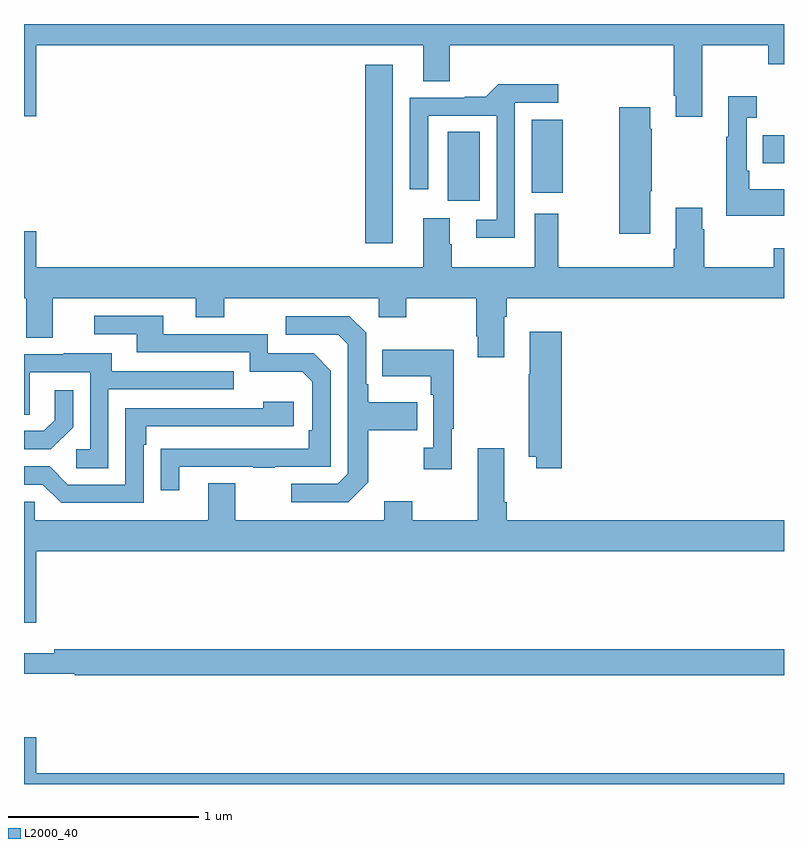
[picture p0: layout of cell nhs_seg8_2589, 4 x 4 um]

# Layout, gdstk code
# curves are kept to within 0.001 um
import gdstk
lib = gdstk.Library(unit=1e-6, precision=1e-09)
def R(c, l, rs):  # rectangles x0, y0, x1, y1
    for r in rs: c.add(gdstk.rectangle(r[:2], r[2:], *l))
def P(c, l, *ps):  # polygons
    for p in ps: c.add(gdstk.Polygon(p, *l))
L2000_40 = (2000, 40)

nhs_seg8_2589 = lib.new_cell('nhs_seg8_2589')
R(nhs_seg8_2589, L2000_40, [(274.796,1160.745,274.942,1161.685), (275.231,1160.97,275.398,1161.332), (275.672,1161.011,275.836,1161.397), (276.889,1161.167,277,1161.315)])
P(nhs_seg8_2589, L2000_40, [(276.571,1161.788),(276.916,1161.788),(276.916,1161.689),(277,1161.689),(277,1161.9),(273,1161.9),(273,1161.414),(273.064,1161.414),(273.064,1161.788),(275.102,1161.788),(275.102,1161.598),(275.242,1161.598),(275.242,1161.788),(276.419,1161.788),(276.419,1161.523),(276.431,1161.523),(276.431,1161.411),(276.571,1161.411)],
  [(275.583,1161.486),(275.812,1161.486),(275.812,1161.584),(275.495,1161.584),(275.429,1161.518),(275.321,1161.518),(275.321,1161.513),(275.031,1161.513),(275.031,1161.03),(275.127,1161.03),(275.127,1161.417),(275.487,1161.417),(275.487,1160.871),(275.379,1160.871),(275.379,1160.774),(275.583,1160.774)],
  [(277,1161.031),(276.817,1161.031),(276.817,1161.127),(276.804,1161.127),(276.804,1161.407),(276.856,1161.407),(276.856,1161.52),(276.707,1161.52),(276.707,1161.307),(276.696,1161.307),(276.696,1160.891),(277,1160.891)],
  [(276.295,1161.019),(276.303,1161.019),(276.303,1161.35),(276.295,1161.35),(276.295,1161.463),(276.133,1161.463),(276.133,1160.796),(276.295,1160.796)],
  [(275.527,1160.36),(275.54,1160.36),(275.54,1160.456),(277,1160.456),(277,1160.719),(276.946,1160.719),(276.946,1160.62),(276.579,1160.62),(276.579,1160.819),(276.571,1160.819),(276.571,1160.932),(276.431,1160.932),(276.431,1160.716),(276.419,1160.716),(276.419,1160.62),(275.813,1160.62),(275.813,1160.902),(275.687,1160.902),(275.687,1160.62),(275.25,1160.62),(275.25,1160.741),(275.242,1160.741),(275.242,1160.878),(275.102,1160.878),(275.102,1160.62),(273.064,1160.62),(273.064,1160.809),(273,1160.809),(273,1160.456),(273.011,1160.456),(273.011,1160.248),(273.151,1160.248),(273.151,1160.456),(273.905,1160.456),(273.905,1160.357),(274.053,1160.357),(274.053,1160.456),(274.866,1160.456),(274.866,1160.357),(275.013,1160.357),(275.013,1160.456),(275.38,1160.456),(275.38,1160.257),(275.387,1160.257),(275.387,1160.145),(275.527,1160.145)],
  [(273.817,1159.569),(274.207,1159.569),(274.207,1159.564),(274.319,1159.564),(274.319,1159.569),(274.614,1159.569),(274.614,1160.076),(274.524,1160.166),(274.284,1160.166),(274.284,1160.268),(273.733,1160.268),(273.733,1160.364),(273.369,1160.364),(273.369,1160.268),(273.593,1160.268),(273.593,1160.172),(274.188,1160.172),(274.188,1160.069),(274.465,1160.069),(274.518,1160.016),(274.518,1159.762),(274.498,1159.762),(274.498,1159.665),(273.721,1159.664),(273.721,1159.446),(273.817,1159.446)],
  [(274.813,1159.489),(274.813,1159.762),(275.069,1159.762),(275.069,1159.909),(274.813,1159.909),(274.813,1160.005),(274.8,1160.005),(274.8,1160.274),(274.713,1160.361),(274.377,1160.361),(274.377,1160.265),(274.653,1160.265),(274.704,1160.214),(274.704,1159.533),(274.65,1159.479),(274.407,1159.479),(274.407,1159.383),(274.707,1159.383)],
  [(275.831,1160.281),(275.663,1160.281),(275.663,1160.057),(275.656,1160.057),(275.656,1159.622),(275.696,1159.622),(275.696,1159.563),(275.831,1159.563)],
  [(275.251,1159.769),(275.263,1159.769),(275.263,1160.185),(274.885,1160.185),(274.885,1160.045),(275.142,1160.045),(275.142,1159.949),(275.154,1159.949),(275.154,1159.67),(275.103,1159.67),(275.103,1159.557),(275.251,1159.557)],
  [(273.444,1159.977),(274.103,1159.977),(274.103,1160.073),(273.463,1160.073),(273.463,1160.167),(273.209,1160.167),(273.209,1160.163),(273,1160.163),(273,1159.843),(273.03,1159.843),(273.03,1160.067),(273.348,1160.067),(273.348,1159.662),(273.276,1159.662),(273.276,1159.561),(273.444,1159.561)],
  [(273.258,1159.778),(273.258,1159.972),(273.161,1159.972),(273.161,1159.815),(273.104,1159.758),(273,1159.758),(273,1159.662),(273.142,1159.662)],
  [(273.63,1159.685),(273.643,1159.685),(273.643,1159.782),(274.42,1159.782),(274.42,1159.912),(274.259,1159.912),(274.259,1159.878),(273.534,1159.878),(273.534,1159.476),(273.231,1159.476),(273.135,1159.572),(273,1159.572),(273,1159.476),(273.099,1159.476),(273.195,1159.38),(273.63,1159.38)],
  [(273.064,1159.124),(277,1159.124),(277,1159.288),(275.54,1159.288),(275.54,1159.384),(275.527,1159.384),(275.527,1159.666),(275.387,1159.666),(275.387,1159.288),(275.043,1159.288),(275.043,1159.387),(274.895,1159.387),(274.895,1159.288),(274.111,1159.288),(274.111,1159.483),(273.971,1159.483),(273.971,1159.288),(273.057,1159.288),(273.057,1159.386),(273,1159.386),(273,1158.75),(273.064,1158.75)],
  [(277,1158.608),(273.16,1158.608),(273.16,1158.589),(273,1158.589),(273,1158.48),(273.268,1158.48),(273.268,1158.472),(277,1158.472)],
  [(277,1157.956),(273.064,1157.956),(273.064,1158.145),(273,1158.145),(273,1157.9),(277,1157.9)])

lib.write_gds('nhs_seg8_2589.gds')
